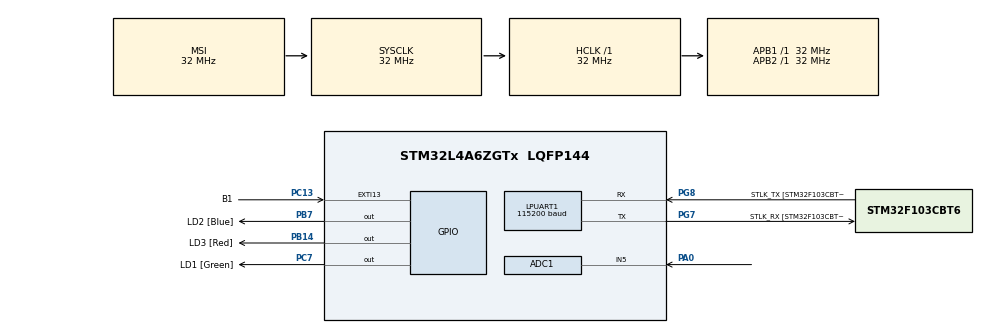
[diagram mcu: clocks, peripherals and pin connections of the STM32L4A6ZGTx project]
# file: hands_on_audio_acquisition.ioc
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ADC1.Channel-0\#ChannelRegularConversion=ADC_CHANNEL_5
ADC1.DMAContinuousRequests=ENABLE
ADC1.ExternalTrigConv=ADC_EXTERNALTRIG_T3_TRGO
ADC1.NbrOfConversionFlag=1
ADC1.OffsetNumber-0\#ChannelRegularConversion=ADC_OFFSET_NONE
ADC1.Rank-0\#ChannelRegularConversion=1
ADC1.SamplingTime-0\#ChannelRegularConversion=ADC_SAMPLETIME_2CYCLES_5
ADC1.master=1
Dma.ADC1.0.Direction=DMA_PERIPH_TO_MEMORY
Dma.ADC1.0.Instance=DMA1_Channel1
Dma.ADC1.0.MemDataAlignment=DMA_MDATAALIGN_HALFWORD
Dma.ADC1.0.MemInc=DMA_MINC_ENABLE
Dma.ADC1.0.Mode=DMA_CIRCULAR
Dma.ADC1.0.PeriphDataAlignment=DMA_PDATAALIGN_HALFWORD
Dma.ADC1.0.PeriphInc=DMA_PINC_DISABLE
Dma.ADC1.0.Priority=DMA_PRIORITY_LOW
Dma.Request0=ADC1
LPUART1.AutoBaudRateEnableParam=UART_ADVFEATURE_AUTOBAUDRATE_DISABLE
LPUART1.BaudRate=115200
LPUART1.DMADisableonRxErrorParam=UART_ADVFEATURE_DMA_ENABLEONRXERROR
LPUART1.DataInvertParam=UART_ADVFEATURE_DATAINV_DISABLE
LPUART1.MSBFirstParam=UART_ADVFEATURE_MSBFIRST_DISABLE
LPUART1.Mode=UART_MODE_TX_RX
LPUART1.OneBitSampling=UART_ONE_BIT_SAMPLE_DISABLE
LPUART1.OverrunDisableParam=UART_ADVFEATURE_OVERRUN_ENABLE
LPUART1.Parity=UART_PARITY_NONE
LPUART1.RxPinLevelInvertParam=UART_ADVFEATURE_RXINV_DISABLE
LPUART1.StopBits=UART_STOPBITS_1
LPUART1.SwapParam=UART_ADVFEATURE_SWAP_DISABLE
LPUART1.TxPinLevelInvertParam=UART_ADVFEATURE_TXINV_DISABLE
LPUART1.WordLength=UART_WORDLENGTH_8B
Mcu.Family=STM32L4
Mcu.Name=STM32L4A6ZGTx
Mcu.Package=LQFP144
NVIC.DMA1_Channel1_IRQn=true\:0\:0\:false\:false\:true\:false\:true\:true
NVIC.EXTI15_10_IRQn=true\:0\:0\:false\:false\:true\:true\:true\:true
NVIC.PriorityGroup=NVIC_PRIORITYGROUP_4
PA0.Signal=ADCx_IN5
PA13\ (JTMS/SWDIO).GPIO_Label=TMS
PA13\ (JTMS/SWDIO).Mode=Trace_Asynchronous_SW
PA13\ (JTMS/SWDIO).Signal=SYS_JTMS-SWDIO
PA14\ (JTCK/SWCLK).GPIO_Label=TCK
PA14\ (JTCK/SWCLK).Mode=Trace_Asynchronous_SW
PA14\ (JTCK/SWCLK).Signal=SYS_JTCK-SWCLK
PB14.GPIO_Label=LD3 [Red]
PB14.Signal=GPIO_Output
PB3\ (JTDO/TRACESWO).GPIO_Label=SWO
PB3\ (JTDO/TRACESWO).Mode=Trace_Asynchronous_SW
PB3\ (JTDO/TRACESWO).Signal=SYS_JTDO-SWO
PB7.GPIO_Label=LD2 [Blue]
PB7.Signal=GPIO_Output
PC13.GPIO_Label=B1
PC13.Signal=GPXTI13
PC14-OSC32_IN\ (PC14).Mode=LSE-External-Oscillator
PC14-OSC32_IN\ (PC14).Signal=RCC_OSC32_IN
PC15-OSC32_OUT\ (PC15).Mode=LSE-External-Oscillator
PC15-OSC32_OUT\ (PC15).Signal=RCC_OSC32_OUT
PC7.GPIO_Label=LD1 [Green]
PC7.Signal=GPIO_Output
PG7.GPIO_Label=STLK_RX [STM32F103CBT6_PA3]
PG7.Mode=Asynchronous
PG7.Signal=LPUART1_TX
PG8.GPIO_Label=STLK_TX [STM32F103CBT6_PA2]
PG8.Mode=Asynchronous
PG8.Signal=LPUART1_RX
PH1-OSC_OUT\ (PH1).Signal=RCC_OSC_OUT
ProjectManager.HeapSize=0x200
ProjectManager.StackSize=0x400
ProjectManager.TargetToolchain=STM32CubeIDE
RCC.ADCCLockSelection=RCC_ADCCLKSOURCE_SYSCLK
RCC.ADCFreq_Value=32000000
RCC.AHBFreq_Value=32000000
RCC.APB1Freq_Value=32000000
RCC.APB1TimFreq_Value=32000000
RCC.APB2Freq_Value=32000000
RCC.APB2TimFreq_Value=32000000
RCC.CortexFreq_Value=32000000
RCC.FLatency=FLASH_LATENCY_1
RCC.HCLKFreq_Value=32000000
RCC.HSE_VALUE=8000000
RCC.HSI48_VALUE=48000000
RCC.HSI_VALUE=16000000
RCC.MSIClockRange=RCC_MSIRANGE_10
RCC.MSI_VALUE=32000000
RCC.PLLN=71
RCC.PLLR=RCC_PLLR_DIV6
RCC.PLLSAI1N=24
RCC.SYSCLKFreq_VALUE=32000000
RCC.USBFreq_Value=384000000
RCC.VCOOutputFreq_Value=2272000000
SH.ADCx_IN5.0=ADC1_IN5,IN5-Single-Ended
TIM3.Period=195
TIM3.Prescaler=15
TIM3.TIM_MasterOutputTrigger=TIM_TRGO_UPDATE
VP_TIM3_VS_ClockSourceINT.Mode=Internal
board=NUCLEO-L4A6ZG

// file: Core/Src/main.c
/* USER CODE BEGIN Header */
/**
  ******************************************************************************
  * @file           : main.c
  * @brief          : Main program body
  ******************************************************************************
  * @attention
  *
  * <h2><center>&copy; Copyright (c) 2021 STMicroelectronics.
  * All rights reserved.</center></h2>
  *
  * This software component is licensed by ST under BSD 3-Clause license,
  * the "License"; You may not use this file except in compliance with the
  * License. You may obtain a copy of the License at:
  *                        opensource.org/licenses/BSD-3-Clause
  *
  ******************************************************************************
  */
/* USER CODE END Header */
#include "main.h"
#include "adc.h"
#include "dma.h"
#include "usart.h"
#include "tim.h"
#include "gpio.h"

/* USER CODE BEGIN Includes */
#include <stdio.h>
#include "retarget.h"
/* USER CODE END Includes */

/* USER CODE BEGIN PD */
#define ADC_BUF_SIZE 30000 //256
/* USER CODE END PD */

/* USER CODE BEGIN PM */
volatile uint32_t adc_val = 0;
volatile uint32_t last_push_time = 0; // to avoid multiple prints
/* USER CODE END PM */

/* USER CODE BEGIN PV */
volatile int state;
volatile uint16_t ADCBuffer[2*ADC_BUF_SIZE];
volatile uint16_t* ADCData1;
volatile uint16_t* ADCData2;

char hex_encoded_buffer[4*ADC_BUF_SIZE+1];
/* USER CODE END PV */

void SystemClock_Config(void);
/* USER CODE BEGIN PFP */
void hex_encode(char* s, const uint8_t* buf, size_t len);
void print_buffer(uint16_t *buffer);
uint32_t get_signal_power(uint16_t *buffer, size_t len);
/* USER CODE END PFP */

/* USER CODE BEGIN 0 */
void HAL_GPIO_EXTI_Callback(uint16_t GPIO_Pin) {
	if (GPIO_Pin == B1_Pin) {
		// to avoid multiple prints

		uint32_t current_time = HAL_GetTick();
		if((current_time - last_push_time) < 200) return;
		last_push_time = current_time;

		state = 1- state;
		if(state == 1){
			HAL_TIM_Base_Start(&htim3);
			HAL_ADC_Start_DMA(&hadc1, (uint32_t*)ADCBuffer, 2*ADC_BUF_SIZE);
		}
		else{
    		printf("Button stop\r\n");
    		print_buffer((uint16_t*)ADCBuffer);
    		HAL_TIM_Base_Stop(&htim3);
    		HAL_ADC_Stop_DMA(&hadc1);
		}

	}
}

void HAL_ADC_ConvCpltCallback(ADC_HandleTypeDef *hadc) {
    if (hadc->Instance == ADC1) {

    	uint32_t p = get_signal_power((uint16_t*)ADCData2, ADC_BUF_SIZE);

    	if(p > 50){
    		printf("full\r\n");
    		state = 0;
    		print_buffer((uint16_t*)ADCBuffer);
    		HAL_TIM_Base_Stop(&htim3);
    		HAL_ADC_Stop_DMA(&hadc1);
    	}

    }
}

void HAL_ADC_ConvHalfCpltCallback(ADC_HandleTypeDef *hadc) {
    if (hadc->Instance == ADC1) {

    	uint32_t p = get_signal_power((uint16_t*)ADCData1, ADC_BUF_SIZE);
    	if(p > 50){
    		printf("half\r\n");
    		state = 0;
    		print_buffer((uint16_t*)ADCBuffer);
    		HAL_TIM_Base_Stop(&htim3);
    		HAL_ADC_Stop_DMA(&hadc1);
    	}

    }
}

void hex_encode(char* s, const uint8_t* buf, size_t len) {
	// The code provided is a baseline: feel free to
	// reuse it to improve and extend the functionalities !
    s[2*len] = '\0'; // A string terminated by a zero char.
    for (size_t i=0; i<len; i++) {
        s[i*2] = "0123456789abcdef"[buf[i] >> 4];
        s[i*2+1] = "0123456789abcdef"[buf[i] & 0xF];
    }
}

void print_buffer(uint16_t *buffer) {
	hex_encode(hex_encoded_buffer, (uint8_t*)buffer, 2*ADC_BUF_SIZE);
	printf("SND:HEX:%s\r\n", hex_encoded_buffer);
}

uint32_t get_signal_power(uint16_t *buffer, size_t len){
	uint64_t sum = 0;
	uint64_t sum2 = 0;
	for (size_t i=0; i<len; i++) {
		sum += (uint64_t) buffer[i];
		sum2 += (uint64_t) buffer[i]*(uint64_t) buffer[i];
	}
	return (uint32_t)(sum2/len - sum*sum/len/len);
}
/* USER CODE END 0 */

int main(void)
{

  /* MCU Configuration--------------------------------------------------------*/

  /* Reset of all peripherals, Initializes the Flash interface and the Systick. */
  HAL_Init();

  /* Configure the system clock */
  SystemClock_Config();

  /* Initialize all configured peripherals */
  MX_GPIO_Init();
  MX_DMA_Init();
  MX_LPUART1_UART_Init();
  MX_ADC1_Init();
  MX_TIM3_Init();
  /* USER CODE BEGIN 2 */
  RetargetInit(&hlpuart1);
  printf("Hello world!\r\n");
  state=0;
  ADCData1 = &ADCBuffer[0];
  ADCData2 = &ADCBuffer[ADC_BUF_SIZE];
  /* USER CODE END 2 */

  /* Infinite loop */
  /* USER CODE BEGIN WHILE */
  while (1)
  {
	HAL_GPIO_WritePin(LD2_GPIO_Port, LD2_Pin, GPIO_PIN_SET);
	HAL_Delay(500);
	HAL_GPIO_WritePin(LD2_GPIO_Port, LD2_Pin, GPIO_PIN_RESET);
	HAL_Delay(500);
    /* USER CODE END WHILE */

  }
}

void SystemClock_Config(void)
{
  RCC_OscInitTypeDef RCC_OscInitStruct = {0};
  RCC_ClkInitTypeDef RCC_ClkInitStruct = {0};

  /** Configure the main internal regulator output voltage
  */
  if (HAL_PWREx_ControlVoltageScaling(PWR_REGULATOR_VOLTAGE_SCALE1) != HAL_OK)
  {
    Error_Handler();
  }

  /** Initializes the RCC Oscillators according to the specified parameters
  * in the RCC_OscInitTypeDef structure.
  */
  RCC_OscInitStruct.OscillatorType = RCC_OSCILLATORTYPE_MSI;
  RCC_OscInitStruct.MSIState = RCC_MSI_ON;
  RCC_OscInitStruct.MSICalibrationValue = 0;
  RCC_OscInitStruct.MSIClockRange = RCC_MSIRANGE_10;
  RCC_OscInitStruct.PLL.PLLState = RCC_PLL_NONE;
  if (HAL_RCC_OscConfig(&RCC_OscInitStruct) != HAL_OK)
  {
    Error_Handler();
  }

  /** Initializes the CPU, AHB and APB buses clocks
  */
  RCC_ClkInitStruct.ClockType = RCC_CLOCKTYPE_HCLK|RCC_CLOCKTYPE_SYSCLK
                              |RCC_CLOCKTYPE_PCLK1|RCC_CLOCKTYPE_PCLK2;
  RCC_ClkInitStruct.SYSCLKSource = RCC_SYSCLKSOURCE_MSI;
  RCC_ClkInitStruct.AHBCLKDivider = RCC_SYSCLK_DIV1;
  RCC_ClkInitStruct.APB1CLKDivider = RCC_HCLK_DIV1;
  RCC_ClkInitStruct.APB2CLKDivider = RCC_HCLK_DIV1;

  if (HAL_RCC_ClockConfig(&RCC_ClkInitStruct, FLASH_LATENCY_1) != HAL_OK)
  {
    Error_Handler();
  }
}

void Error_Handler(void)
{
  __disable_irq();
  while (1)
  {
  }
}
